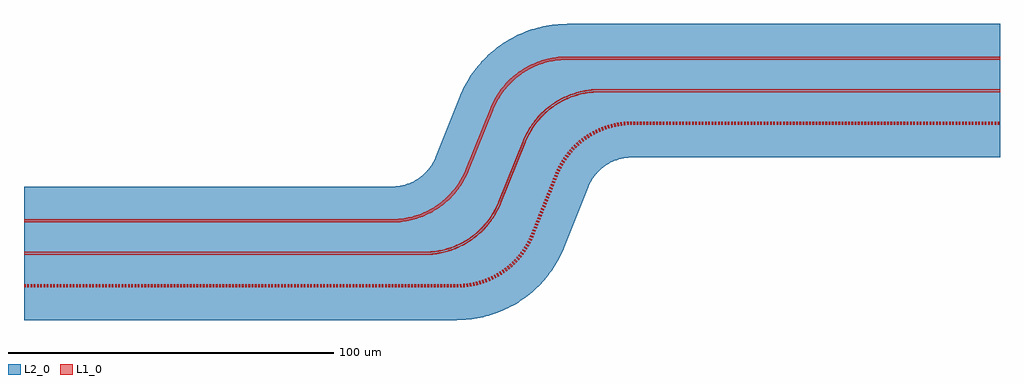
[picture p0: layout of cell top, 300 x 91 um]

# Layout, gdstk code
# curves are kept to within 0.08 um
from math import pi, radians
import gdstk
lib = gdstk.Library(unit=1e-6, precision=1e-09)
def R(c, l, rs):  # rectangles x0, y0, x1, y1
    for r in rs: c.add(gdstk.rectangle(r[:2], r[2:], *l))
def P(c, l, *ps):  # polygons
    for p in ps: c.add(gdstk.Polygon(p, *l))
L1_0 = (1, 0)
L2_0 = (2, 0)

waveguide_1 = lib.new_cell('Waveguide_1')
R(waveguide_1, L1_0, [(0,-0.5,113.074,0.5), (166.926,49.5,300,50.5)])
P(waveguide_1, L1_0, [(113.074,-0.5),(116.295,-0.296),(120.086,0.483),(123.717,1.827),(127.102,3.705),(130.163,6.074),(132.831,8.878),(135.044,12.055),(136.75,15.53),(135.822,15.901),(134.458,13.042),(132.352,9.879),(129.781,7.08),(126.81,4.712),(123.507,2.832),(119.954,1.486),(116.863,0.795),(113.074,0.5)],
  [(135.822,15.901),(136.75,15.53),(144.178,34.099),(143.25,34.47)],
  [(143.25,34.47),(144.669,37.446),(146.862,40.738),(149.537,43.651),(152.63,46.116),(155.474,47.784),(159.134,49.281),(162.983,50.193),(166.926,50.5),(166.926,49.5),(163.137,49.205),(160.046,48.514),(156.493,47.168),(153.19,45.288),(150.219,42.92),(147.648,40.121),(145.542,36.958),(144.178,34.099)])
R(waveguide_1, L2_0, [(0,-10.5,113.074,10.5), (166.926,39.5,300,60.5)])
P(waveguide_1, L2_0, [(113.074,-10.5),(115.769,-10.398),(118.448,-10.091),(121.096,-9.582),(123.697,-8.873),(126.238,-7.969),(128.702,-6.875),(132.603,-4.646),(134.797,-3.078),(136.865,-1.348),(138.796,0.533),(140.579,2.556),(142.203,4.709),(143.66,6.978),(144.939,9.352),(146.035,11.816),(126.537,19.615),(125.542,17.598),(124.248,15.759),(122.962,14.394),(121.203,12.993),(119.249,11.88),(117.505,11.193),(115.316,10.674),(113.074,10.5)],
  [(126.537,19.615),(146.035,11.816),(153.463,30.385),(133.965,38.184)],
  [(133.965,38.184),(135.941,42.327),(137.378,44.677),(138.993,46.91),(140.777,49.01),(142.717,50.965),(144.804,52.764),(147.024,54.396),(149.363,55.851),(151.809,57.12),(154.345,58.196),(156.957,59.072),(161.436,60.073),(164.173,60.393),(166.926,60.5),(166.926,39.5),(164.684,39.326),(162.495,38.807),(160.751,38.12),(158.797,37.007),(157.038,35.606),(155.752,34.241),(154.458,32.402),(153.463,30.385)])

waveguide_2 = lib.new_cell('Waveguide_2')
R(waveguide_2, L1_0, [(0,-10.5,123.074,-10.15), (0,-9.85,123.074,-9.5), (176.926,39.5,300,39.85), (176.926,40.15,300,40.5)])
P(waveguide_2, L1_0, [(123.074,-9.85),(124.96,-9.778),(126.836,-9.564),(128.074,-9.342),(129.908,-8.892),(131.701,-8.304),(133.445,-7.582),(135.13,-6.73),(136.744,-5.752),(138.28,-4.655),(139.728,-3.444),(141.08,-2.127),(142.328,-0.711),(143.465,0.796),(144.484,2.385),(145.38,4.046),(146.147,5.771),(145.822,5.901),(145.048,4.164),(144.141,2.493),(143.108,0.897),(141.954,-0.614),(141.121,-1.57),(139.781,-2.92),(138.342,-4.161),(136.81,-5.288),(135.195,-6.292),(133.507,-7.168),(132.347,-7.678),(130.56,-8.328),(128.728,-8.839),(126.863,-9.205),(124.974,-9.426),(123.074,-9.5)],
  [(123.074,-10.5),(124.365,-10.467),(126.295,-10.296),(128.205,-9.978),(130.086,-9.517),(131.927,-8.914),(133.717,-8.173),(135.445,-7.298),(137.102,-6.295),(138.678,-5.169),(140.163,-3.926),(141.551,-2.575),(142.831,-1.122),(143.998,0.425),(145.044,2.055),(145.963,3.76),(146.75,5.53),(146.425,5.66),(145.631,3.877),(144.7,2.161),(143.639,0.523),(142.455,-1.029),(141.153,-2.483),(139.743,-3.833),(138.747,-4.67),(137.174,-5.826),(135.516,-6.857),(133.784,-7.756),(131.987,-8.518),(130.759,-8.947),(128.878,-9.471),(126.963,-9.847),(125.025,-10.074),(123.074,-10.15)],
  [(145.822,5.901),(146.147,5.771),(153.575,24.34),(153.25,24.47)],
  [(146.425,5.66),(146.75,5.53),(154.178,24.099),(153.853,24.229)],
  [(153.853,24.229),(154.638,25.991),(155.237,27.129),(156.243,28.774),(157.373,30.337),(158.621,31.807),(159.98,33.176),(161.44,34.435),(162.994,35.577),(164.077,36.271),(165.766,37.203),(167.521,38.002),(169.333,38.662),(171.191,39.179),(173.083,39.551),(174.999,39.775),(176.926,39.85),(176.926,39.5),(175.026,39.426),(173.137,39.205),(171.272,38.839),(169.44,38.328),(167.653,37.678),(166.493,37.168),(164.805,36.292),(163.19,35.288),(161.658,34.161),(160.219,32.92),(158.879,31.57),(158.046,30.614),(156.892,29.103),(155.859,27.507),(154.952,25.836),(154.178,24.099)],
  [(153.25,24.47),(153.771,25.683),(154.669,27.446),(155.702,29.134),(156.862,30.738),(158.143,32.246),(159.537,33.651),(161.035,34.943),(162.63,36.116),(164.31,37.161),(165.474,37.784),(167.275,38.603),(169.134,39.281),(171.041,39.812),(172.983,40.193),(174.948,40.423),(176.926,40.5),(176.926,40.15),(174.975,40.074),(173.037,39.847),(171.122,39.471),(169.241,38.947),(168.013,38.518),(166.216,37.756),(164.484,36.857),(162.826,35.826),(161.253,34.67),(160.257,33.833),(158.847,32.483),(157.545,31.029),(156.361,29.477),(155.3,27.839),(154.369,26.123),(153.575,24.34)])
R(waveguide_2, L2_0, [(0,-20.5,123.074,0.5), (176.926,29.5,300,50.5)])
P(waveguide_2, L2_0, [(123.074,-20.5),(125.769,-20.398),(128.448,-20.091),(131.096,-19.582),(133.697,-18.873),(136.238,-17.969),(138.702,-16.875),(142.603,-14.646),(144.797,-13.078),(146.865,-11.348),(148.796,-9.467),(150.579,-7.444),(152.203,-5.291),(153.66,-3.022),(154.939,-0.648),(156.035,1.816),(136.537,9.615),(135.542,7.598),(134.248,5.759),(132.962,4.394),(131.203,2.993),(129.249,1.88),(127.505,1.193),(125.316,0.674),(123.074,0.5)],
  [(136.537,9.615),(156.035,1.816),(163.463,20.385),(143.965,28.184)],
  [(143.965,28.184),(145.941,32.327),(147.378,34.677),(148.993,36.91),(150.777,39.01),(152.717,40.965),(154.804,42.764),(157.024,44.396),(159.363,45.851),(161.809,47.12),(164.345,48.196),(166.957,49.072),(171.436,50.073),(174.173,50.393),(176.926,50.5),(176.926,29.5),(174.684,29.326),(172.495,28.807),(170.751,28.12),(168.797,27.007),(167.038,25.606),(165.752,24.241),(164.458,22.402),(163.463,20.385)])

swg_seg_1_0_1_0_0_5_1_2 = lib.new_cell('swg_seg_1.0_1.0_0.5_1_2')
R(swg_seg_1_0_1_0_0_5_1_2, L1_0, [(0,-0.5,0.5,0.5)])

swg_bend_1_0_1_0_0_5_1_2 = lib.new_cell('swg_bend_1.0_1.0_0.5_1_2')
P(swg_bend_1_0_1_0_0_5_1_2, L1_0, [(25.5,0),(25.495,0.51),(24.495,0.49),(24.5,0)])

waveguide_3 = lib.new_cell('Waveguide_3')
R(waveguide_3, L1_0, [(133,-20.5,133.074,-19.5)])
P(waveguide_3, L1_0, [(133.074,-20.5),(133.508,-20.496),(133.491,-19.496),(133.074,-19.5)])
R(waveguide_3, L2_0, [(0,-30.5,133.074,-9.5), (186.926,19.5,300,40.5)])
P(waveguide_3, L2_0, [(133.074,-30.5),(135.769,-30.398),(138.448,-30.091),(141.096,-29.582),(143.697,-28.873),(146.238,-27.969),(148.702,-26.875),(152.603,-24.646),(154.797,-23.078),(156.865,-21.348),(158.796,-19.467),(160.579,-17.444),(162.203,-15.291),(163.66,-13.022),(164.939,-10.648),(166.035,-8.184),(146.537,-0.385),(145.542,-2.402),(144.248,-4.241),(142.962,-5.606),(141.203,-7.007),(139.249,-8.12),(137.505,-8.807),(135.316,-9.326),(133.074,-9.5)],
  [(146.537,-0.385),(166.035,-8.184),(173.463,10.385),(153.965,18.184)],
  [(153.965,18.184),(155.941,22.327),(157.378,24.677),(158.993,26.91),(160.777,29.01),(162.717,30.965),(164.804,32.764),(167.024,34.396),(169.363,35.851),(171.809,37.12),(174.345,38.196),(176.957,39.072),(181.436,40.073),(184.173,40.393),(186.926,40.5),(186.926,19.5),(184.684,19.326),(182.495,18.807),(180.751,18.12),(178.797,17.007),(177.038,15.606),(175.752,14.241),(174.458,12.402),(173.463,10.385)])
waveguide_3.add(gdstk.Reference(swg_seg_1_0_1_0_0_5_1_2, (0,-20)))
waveguide_3.add(gdstk.Reference(swg_seg_1_0_1_0_0_5_1_2, (1,-20)))
waveguide_3.add(gdstk.Reference(swg_seg_1_0_1_0_0_5_1_2, (2,-20)))
waveguide_3.add(gdstk.Reference(swg_seg_1_0_1_0_0_5_1_2, (3,-20)))
waveguide_3.add(gdstk.Reference(swg_seg_1_0_1_0_0_5_1_2, (4,-20)))
waveguide_3.add(gdstk.Reference(swg_seg_1_0_1_0_0_5_1_2, (5,-20)))
waveguide_3.add(gdstk.Reference(swg_seg_1_0_1_0_0_5_1_2, (6,-20)))
waveguide_3.add(gdstk.Reference(swg_seg_1_0_1_0_0_5_1_2, (7,-20)))
waveguide_3.add(gdstk.Reference(swg_seg_1_0_1_0_0_5_1_2, (8,-20)))
waveguide_3.add(gdstk.Reference(swg_seg_1_0_1_0_0_5_1_2, (9,-20)))
waveguide_3.add(gdstk.Reference(swg_seg_1_0_1_0_0_5_1_2, (10,-20)))
waveguide_3.add(gdstk.Reference(swg_seg_1_0_1_0_0_5_1_2, (11,-20)))
waveguide_3.add(gdstk.Reference(swg_seg_1_0_1_0_0_5_1_2, (12,-20)))
waveguide_3.add(gdstk.Reference(swg_seg_1_0_1_0_0_5_1_2, (13,-20)))
waveguide_3.add(gdstk.Reference(swg_seg_1_0_1_0_0_5_1_2, (14,-20)))
waveguide_3.add(gdstk.Reference(swg_seg_1_0_1_0_0_5_1_2, (15,-20)))
waveguide_3.add(gdstk.Reference(swg_seg_1_0_1_0_0_5_1_2, (16,-20)))
waveguide_3.add(gdstk.Reference(swg_seg_1_0_1_0_0_5_1_2, (17,-20)))
waveguide_3.add(gdstk.Reference(swg_seg_1_0_1_0_0_5_1_2, (18,-20)))
waveguide_3.add(gdstk.Reference(swg_seg_1_0_1_0_0_5_1_2, (19,-20)))
waveguide_3.add(gdstk.Reference(swg_seg_1_0_1_0_0_5_1_2, (20,-20)))
waveguide_3.add(gdstk.Reference(swg_seg_1_0_1_0_0_5_1_2, (21,-20)))
waveguide_3.add(gdstk.Reference(swg_seg_1_0_1_0_0_5_1_2, (22,-20)))
waveguide_3.add(gdstk.Reference(swg_seg_1_0_1_0_0_5_1_2, (23,-20)))
waveguide_3.add(gdstk.Reference(swg_seg_1_0_1_0_0_5_1_2, (24,-20)))
waveguide_3.add(gdstk.Reference(swg_seg_1_0_1_0_0_5_1_2, (25,-20)))
waveguide_3.add(gdstk.Reference(swg_seg_1_0_1_0_0_5_1_2, (26,-20)))
waveguide_3.add(gdstk.Reference(swg_seg_1_0_1_0_0_5_1_2, (27,-20)))
waveguide_3.add(gdstk.Reference(swg_seg_1_0_1_0_0_5_1_2, (28,-20)))
waveguide_3.add(gdstk.Reference(swg_seg_1_0_1_0_0_5_1_2, (29,-20)))
waveguide_3.add(gdstk.Reference(swg_seg_1_0_1_0_0_5_1_2, (30,-20)))
waveguide_3.add(gdstk.Reference(swg_seg_1_0_1_0_0_5_1_2, (31,-20)))
waveguide_3.add(gdstk.Reference(swg_seg_1_0_1_0_0_5_1_2, (32,-20)))
waveguide_3.add(gdstk.Reference(swg_seg_1_0_1_0_0_5_1_2, (33,-20)))
waveguide_3.add(gdstk.Reference(swg_seg_1_0_1_0_0_5_1_2, (34,-20)))
waveguide_3.add(gdstk.Reference(swg_seg_1_0_1_0_0_5_1_2, (35,-20)))
waveguide_3.add(gdstk.Reference(swg_seg_1_0_1_0_0_5_1_2, (36,-20)))
waveguide_3.add(gdstk.Reference(swg_seg_1_0_1_0_0_5_1_2, (37,-20)))
waveguide_3.add(gdstk.Reference(swg_seg_1_0_1_0_0_5_1_2, (38,-20)))
waveguide_3.add(gdstk.Reference(swg_seg_1_0_1_0_0_5_1_2, (39,-20)))
waveguide_3.add(gdstk.Reference(swg_seg_1_0_1_0_0_5_1_2, (40,-20)))
waveguide_3.add(gdstk.Reference(swg_seg_1_0_1_0_0_5_1_2, (41,-20)))
waveguide_3.add(gdstk.Reference(swg_seg_1_0_1_0_0_5_1_2, (42,-20)))
waveguide_3.add(gdstk.Reference(swg_seg_1_0_1_0_0_5_1_2, (43,-20)))
waveguide_3.add(gdstk.Reference(swg_seg_1_0_1_0_0_5_1_2, (44,-20)))
waveguide_3.add(gdstk.Reference(swg_seg_1_0_1_0_0_5_1_2, (45,-20)))
waveguide_3.add(gdstk.Reference(swg_seg_1_0_1_0_0_5_1_2, (46,-20)))
waveguide_3.add(gdstk.Reference(swg_seg_1_0_1_0_0_5_1_2, (47,-20)))
waveguide_3.add(gdstk.Reference(swg_seg_1_0_1_0_0_5_1_2, (48,-20)))
waveguide_3.add(gdstk.Reference(swg_seg_1_0_1_0_0_5_1_2, (49,-20)))
waveguide_3.add(gdstk.Reference(swg_seg_1_0_1_0_0_5_1_2, (50,-20)))
waveguide_3.add(gdstk.Reference(swg_seg_1_0_1_0_0_5_1_2, (51,-20)))
waveguide_3.add(gdstk.Reference(swg_seg_1_0_1_0_0_5_1_2, (52,-20)))
waveguide_3.add(gdstk.Reference(swg_seg_1_0_1_0_0_5_1_2, (53,-20)))
waveguide_3.add(gdstk.Reference(swg_seg_1_0_1_0_0_5_1_2, (54,-20)))
waveguide_3.add(gdstk.Reference(swg_seg_1_0_1_0_0_5_1_2, (55,-20)))
waveguide_3.add(gdstk.Reference(swg_seg_1_0_1_0_0_5_1_2, (56,-20)))
waveguide_3.add(gdstk.Reference(swg_seg_1_0_1_0_0_5_1_2, (57,-20)))
waveguide_3.add(gdstk.Reference(swg_seg_1_0_1_0_0_5_1_2, (58,-20)))
waveguide_3.add(gdstk.Reference(swg_seg_1_0_1_0_0_5_1_2, (59,-20)))
waveguide_3.add(gdstk.Reference(swg_seg_1_0_1_0_0_5_1_2, (60,-20)))
waveguide_3.add(gdstk.Reference(swg_seg_1_0_1_0_0_5_1_2, (61,-20)))
waveguide_3.add(gdstk.Reference(swg_seg_1_0_1_0_0_5_1_2, (62,-20)))
waveguide_3.add(gdstk.Reference(swg_seg_1_0_1_0_0_5_1_2, (63,-20)))
waveguide_3.add(gdstk.Reference(swg_seg_1_0_1_0_0_5_1_2, (64,-20)))
waveguide_3.add(gdstk.Reference(swg_seg_1_0_1_0_0_5_1_2, (65,-20)))
waveguide_3.add(gdstk.Reference(swg_seg_1_0_1_0_0_5_1_2, (66,-20)))
waveguide_3.add(gdstk.Reference(swg_seg_1_0_1_0_0_5_1_2, (67,-20)))
waveguide_3.add(gdstk.Reference(swg_seg_1_0_1_0_0_5_1_2, (68,-20)))
waveguide_3.add(gdstk.Reference(swg_seg_1_0_1_0_0_5_1_2, (69,-20)))
waveguide_3.add(gdstk.Reference(swg_seg_1_0_1_0_0_5_1_2, (70,-20)))
waveguide_3.add(gdstk.Reference(swg_seg_1_0_1_0_0_5_1_2, (71,-20)))
waveguide_3.add(gdstk.Reference(swg_seg_1_0_1_0_0_5_1_2, (72,-20)))
waveguide_3.add(gdstk.Reference(swg_seg_1_0_1_0_0_5_1_2, (73,-20)))
waveguide_3.add(gdstk.Reference(swg_seg_1_0_1_0_0_5_1_2, (74,-20)))
waveguide_3.add(gdstk.Reference(swg_seg_1_0_1_0_0_5_1_2, (75,-20)))
waveguide_3.add(gdstk.Reference(swg_seg_1_0_1_0_0_5_1_2, (76,-20)))
waveguide_3.add(gdstk.Reference(swg_seg_1_0_1_0_0_5_1_2, (77,-20)))
waveguide_3.add(gdstk.Reference(swg_seg_1_0_1_0_0_5_1_2, (78,-20)))
waveguide_3.add(gdstk.Reference(swg_seg_1_0_1_0_0_5_1_2, (79,-20)))
waveguide_3.add(gdstk.Reference(swg_seg_1_0_1_0_0_5_1_2, (80,-20)))
waveguide_3.add(gdstk.Reference(swg_seg_1_0_1_0_0_5_1_2, (81,-20)))
waveguide_3.add(gdstk.Reference(swg_seg_1_0_1_0_0_5_1_2, (82,-20)))
waveguide_3.add(gdstk.Reference(swg_seg_1_0_1_0_0_5_1_2, (83,-20)))
waveguide_3.add(gdstk.Reference(swg_seg_1_0_1_0_0_5_1_2, (84,-20)))
waveguide_3.add(gdstk.Reference(swg_seg_1_0_1_0_0_5_1_2, (85,-20)))
waveguide_3.add(gdstk.Reference(swg_seg_1_0_1_0_0_5_1_2, (86,-20)))
waveguide_3.add(gdstk.Reference(swg_seg_1_0_1_0_0_5_1_2, (87,-20)))
waveguide_3.add(gdstk.Reference(swg_seg_1_0_1_0_0_5_1_2, (88,-20)))
waveguide_3.add(gdstk.Reference(swg_seg_1_0_1_0_0_5_1_2, (89,-20)))
waveguide_3.add(gdstk.Reference(swg_seg_1_0_1_0_0_5_1_2, (90,-20)))
waveguide_3.add(gdstk.Reference(swg_seg_1_0_1_0_0_5_1_2, (91,-20)))
waveguide_3.add(gdstk.Reference(swg_seg_1_0_1_0_0_5_1_2, (92,-20)))
waveguide_3.add(gdstk.Reference(swg_seg_1_0_1_0_0_5_1_2, (93,-20)))
waveguide_3.add(gdstk.Reference(swg_seg_1_0_1_0_0_5_1_2, (94,-20)))
waveguide_3.add(gdstk.Reference(swg_seg_1_0_1_0_0_5_1_2, (95,-20)))
waveguide_3.add(gdstk.Reference(swg_seg_1_0_1_0_0_5_1_2, (96,-20)))
waveguide_3.add(gdstk.Reference(swg_seg_1_0_1_0_0_5_1_2, (97,-20)))
waveguide_3.add(gdstk.Reference(swg_seg_1_0_1_0_0_5_1_2, (98,-20)))
waveguide_3.add(gdstk.Reference(swg_seg_1_0_1_0_0_5_1_2, (99,-20)))
waveguide_3.add(gdstk.Reference(swg_seg_1_0_1_0_0_5_1_2, (100,-20)))
waveguide_3.add(gdstk.Reference(swg_seg_1_0_1_0_0_5_1_2, (101,-20)))
waveguide_3.add(gdstk.Reference(swg_seg_1_0_1_0_0_5_1_2, (102,-20)))
waveguide_3.add(gdstk.Reference(swg_seg_1_0_1_0_0_5_1_2, (103,-20)))
waveguide_3.add(gdstk.Reference(swg_seg_1_0_1_0_0_5_1_2, (104,-20)))
waveguide_3.add(gdstk.Reference(swg_seg_1_0_1_0_0_5_1_2, (105,-20)))
waveguide_3.add(gdstk.Reference(swg_seg_1_0_1_0_0_5_1_2, (106,-20)))
waveguide_3.add(gdstk.Reference(swg_seg_1_0_1_0_0_5_1_2, (107,-20)))
waveguide_3.add(gdstk.Reference(swg_seg_1_0_1_0_0_5_1_2, (108,-20)))
waveguide_3.add(gdstk.Reference(swg_seg_1_0_1_0_0_5_1_2, (109,-20)))
waveguide_3.add(gdstk.Reference(swg_seg_1_0_1_0_0_5_1_2, (110,-20)))
waveguide_3.add(gdstk.Reference(swg_seg_1_0_1_0_0_5_1_2, (111,-20)))
waveguide_3.add(gdstk.Reference(swg_seg_1_0_1_0_0_5_1_2, (112,-20)))
waveguide_3.add(gdstk.Reference(swg_seg_1_0_1_0_0_5_1_2, (113,-20)))
waveguide_3.add(gdstk.Reference(swg_seg_1_0_1_0_0_5_1_2, (114,-20)))
waveguide_3.add(gdstk.Reference(swg_seg_1_0_1_0_0_5_1_2, (115,-20)))
waveguide_3.add(gdstk.Reference(swg_seg_1_0_1_0_0_5_1_2, (116,-20)))
waveguide_3.add(gdstk.Reference(swg_seg_1_0_1_0_0_5_1_2, (117,-20)))
waveguide_3.add(gdstk.Reference(swg_seg_1_0_1_0_0_5_1_2, (118,-20)))
waveguide_3.add(gdstk.Reference(swg_seg_1_0_1_0_0_5_1_2, (119,-20)))
waveguide_3.add(gdstk.Reference(swg_seg_1_0_1_0_0_5_1_2, (120,-20)))
waveguide_3.add(gdstk.Reference(swg_seg_1_0_1_0_0_5_1_2, (121,-20)))
waveguide_3.add(gdstk.Reference(swg_seg_1_0_1_0_0_5_1_2, (122,-20)))
waveguide_3.add(gdstk.Reference(swg_seg_1_0_1_0_0_5_1_2, (123,-20)))
waveguide_3.add(gdstk.Reference(swg_seg_1_0_1_0_0_5_1_2, (124,-20)))
waveguide_3.add(gdstk.Reference(swg_seg_1_0_1_0_0_5_1_2, (125,-20)))
waveguide_3.add(gdstk.Reference(swg_seg_1_0_1_0_0_5_1_2, (126,-20)))
waveguide_3.add(gdstk.Reference(swg_seg_1_0_1_0_0_5_1_2, (127,-20)))
waveguide_3.add(gdstk.Reference(swg_seg_1_0_1_0_0_5_1_2, (128,-20)))
waveguide_3.add(gdstk.Reference(swg_seg_1_0_1_0_0_5_1_2, (129,-20)))
waveguide_3.add(gdstk.Reference(swg_seg_1_0_1_0_0_5_1_2, (130,-20)))
waveguide_3.add(gdstk.Reference(swg_seg_1_0_1_0_0_5_1_2, (131,-20)))
waveguide_3.add(gdstk.Reference(swg_seg_1_0_1_0_0_5_1_2, (132,-20)))
waveguide_3.add(gdstk.Reference(swg_bend_1_0_1_0_0_5_1_2, (133.074,5), rotation=radians(-87.8782)))
waveguide_3.add(gdstk.Reference(swg_bend_1_0_1_0_0_5_1_2, (133.074,5), rotation=radians(-85.5863)))
waveguide_3.add(gdstk.Reference(swg_bend_1_0_1_0_0_5_1_2, (133.074,5), rotation=radians(-83.2945)))
waveguide_3.add(gdstk.Reference(swg_bend_1_0_1_0_0_5_1_2, (133.074,5), rotation=radians(-81.0027)))
waveguide_3.add(gdstk.Reference(swg_bend_1_0_1_0_0_5_1_2, (133.074,5), rotation=radians(-78.7108)))
waveguide_3.add(gdstk.Reference(swg_bend_1_0_1_0_0_5_1_2, (133.074,5), rotation=radians(-76.419)))
waveguide_3.add(gdstk.Reference(swg_bend_1_0_1_0_0_5_1_2, (133.074,5), rotation=radians(-74.1272)))
waveguide_3.add(gdstk.Reference(swg_bend_1_0_1_0_0_5_1_2, (133.074,5), rotation=radians(-71.8353)))
waveguide_3.add(gdstk.Reference(swg_bend_1_0_1_0_0_5_1_2, (133.074,5), rotation=radians(-69.5435)))
waveguide_3.add(gdstk.Reference(swg_bend_1_0_1_0_0_5_1_2, (133.074,5), rotation=radians(-67.2517)))
waveguide_3.add(gdstk.Reference(swg_bend_1_0_1_0_0_5_1_2, (133.074,5), rotation=radians(-64.9599)))
waveguide_3.add(gdstk.Reference(swg_bend_1_0_1_0_0_5_1_2, (133.074,5), rotation=radians(-62.668)))
waveguide_3.add(gdstk.Reference(swg_bend_1_0_1_0_0_5_1_2, (133.074,5), rotation=radians(-60.3762)))
waveguide_3.add(gdstk.Reference(swg_bend_1_0_1_0_0_5_1_2, (133.074,5), rotation=radians(-58.0844)))
waveguide_3.add(gdstk.Reference(swg_bend_1_0_1_0_0_5_1_2, (133.074,5), rotation=radians(-55.7925)))
waveguide_3.add(gdstk.Reference(swg_bend_1_0_1_0_0_5_1_2, (133.074,5), rotation=radians(-53.5007)))
waveguide_3.add(gdstk.Reference(swg_bend_1_0_1_0_0_5_1_2, (133.074,5), rotation=radians(-51.2089)))
waveguide_3.add(gdstk.Reference(swg_bend_1_0_1_0_0_5_1_2, (133.074,5), rotation=radians(-48.917)))
waveguide_3.add(gdstk.Reference(swg_bend_1_0_1_0_0_5_1_2, (133.074,5), rotation=radians(-46.6252)))
waveguide_3.add(gdstk.Reference(swg_bend_1_0_1_0_0_5_1_2, (133.074,5), rotation=radians(-44.3334)))
waveguide_3.add(gdstk.Reference(swg_bend_1_0_1_0_0_5_1_2, (133.074,5), rotation=radians(-42.0415)))
waveguide_3.add(gdstk.Reference(swg_bend_1_0_1_0_0_5_1_2, (133.074,5), rotation=radians(-39.7497)))
waveguide_3.add(gdstk.Reference(swg_bend_1_0_1_0_0_5_1_2, (133.074,5), rotation=radians(-37.4579)))
waveguide_3.add(gdstk.Reference(swg_bend_1_0_1_0_0_5_1_2, (133.074,5), rotation=radians(-35.1661)))
waveguide_3.add(gdstk.Reference(swg_bend_1_0_1_0_0_5_1_2, (133.074,5), rotation=radians(-32.8742)))
waveguide_3.add(gdstk.Reference(swg_bend_1_0_1_0_0_5_1_2, (133.074,5), rotation=radians(-30.5824)))
waveguide_3.add(gdstk.Reference(swg_bend_1_0_1_0_0_5_1_2, (133.074,5), rotation=radians(-28.2906)))
waveguide_3.add(gdstk.Reference(swg_bend_1_0_1_0_0_5_1_2, (133.074,5), rotation=radians(-25.9987)))
waveguide_3.add(gdstk.Reference(swg_bend_1_0_1_0_0_5_1_2, (133.074,5), rotation=radians(-23.7069)))
waveguide_3.add(gdstk.Reference(swg_seg_1_0_1_0_0_5_1_2, (156.349,-4.128), rotation=radians(68.1986)))
waveguide_3.add(gdstk.Reference(swg_seg_1_0_1_0_0_5_1_2, (156.72,-3.2), rotation=radians(68.1986)))
waveguide_3.add(gdstk.Reference(swg_seg_1_0_1_0_0_5_1_2, (157.091,-2.271), rotation=radians(68.1986)))
waveguide_3.add(gdstk.Reference(swg_seg_1_0_1_0_0_5_1_2, (157.463,-1.343), rotation=radians(68.1986)))
waveguide_3.add(gdstk.Reference(swg_seg_1_0_1_0_0_5_1_2, (157.834,-0.414), rotation=radians(68.1986)))
waveguide_3.add(gdstk.Reference(swg_seg_1_0_1_0_0_5_1_2, (158.206,0.514), rotation=radians(68.1986)))
waveguide_3.add(gdstk.Reference(swg_seg_1_0_1_0_0_5_1_2, (158.577,1.443), rotation=radians(68.1986)))
waveguide_3.add(gdstk.Reference(swg_seg_1_0_1_0_0_5_1_2, (158.948,2.371), rotation=radians(68.1986)))
waveguide_3.add(gdstk.Reference(swg_seg_1_0_1_0_0_5_1_2, (159.32,3.3), rotation=radians(68.1986)))
waveguide_3.add(gdstk.Reference(swg_seg_1_0_1_0_0_5_1_2, (159.691,4.228), rotation=radians(68.1986)))
waveguide_3.add(gdstk.Reference(swg_seg_1_0_1_0_0_5_1_2, (160.063,5.157), rotation=radians(68.1986)))
waveguide_3.add(gdstk.Reference(swg_seg_1_0_1_0_0_5_1_2, (160.434,6.085), rotation=radians(68.1986)))
waveguide_3.add(gdstk.Reference(swg_seg_1_0_1_0_0_5_1_2, (160.805,7.013), rotation=radians(68.1986)))
waveguide_3.add(gdstk.Reference(swg_seg_1_0_1_0_0_5_1_2, (161.177,7.942), rotation=radians(68.1986)))
waveguide_3.add(gdstk.Reference(swg_seg_1_0_1_0_0_5_1_2, (161.548,8.87), rotation=radians(68.1986)))
waveguide_3.add(gdstk.Reference(swg_seg_1_0_1_0_0_5_1_2, (161.92,9.799), rotation=radians(68.1986)))
waveguide_3.add(gdstk.Reference(swg_seg_1_0_1_0_0_5_1_2, (162.291,10.727), rotation=radians(68.1986)))
waveguide_3.add(gdstk.Reference(swg_seg_1_0_1_0_0_5_1_2, (162.662,11.656), rotation=radians(68.1986)))
waveguide_3.add(gdstk.Reference(swg_seg_1_0_1_0_0_5_1_2, (163.034,12.584), rotation=radians(68.1986)))
waveguide_3.add(gdstk.Reference(swg_seg_1_0_1_0_0_5_1_2, (163.405,13.513), rotation=radians(68.1986)))
waveguide_3.add(gdstk.Reference(swg_bend_1_0_1_0_0_5_1_2, (186.926,5), rotation=radians(157.8122), x_reflection=True))
waveguide_3.add(gdstk.Reference(swg_bend_1_0_1_0_0_5_1_2, (186.926,5), rotation=radians(155.5204), x_reflection=True))
waveguide_3.add(gdstk.Reference(swg_bend_1_0_1_0_0_5_1_2, (186.926,5), rotation=radians(153.2286), x_reflection=True))
waveguide_3.add(gdstk.Reference(swg_bend_1_0_1_0_0_5_1_2, (186.926,5), rotation=radians(150.9368), x_reflection=True))
waveguide_3.add(gdstk.Reference(swg_bend_1_0_1_0_0_5_1_2, (186.926,5), rotation=radians(148.6449), x_reflection=True))
waveguide_3.add(gdstk.Reference(swg_bend_1_0_1_0_0_5_1_2, (186.926,5), rotation=radians(146.3531), x_reflection=True))
waveguide_3.add(gdstk.Reference(swg_bend_1_0_1_0_0_5_1_2, (186.926,5), rotation=radians(144.0613), x_reflection=True))
waveguide_3.add(gdstk.Reference(swg_bend_1_0_1_0_0_5_1_2, (186.926,5), rotation=radians(141.7694), x_reflection=True))
waveguide_3.add(gdstk.Reference(swg_bend_1_0_1_0_0_5_1_2, (186.926,5), rotation=radians(139.4776), x_reflection=True))
waveguide_3.add(gdstk.Reference(swg_bend_1_0_1_0_0_5_1_2, (186.926,5), rotation=radians(137.1858), x_reflection=True))
waveguide_3.add(gdstk.Reference(swg_bend_1_0_1_0_0_5_1_2, (186.926,5), rotation=radians(134.8939), x_reflection=True))
waveguide_3.add(gdstk.Reference(swg_bend_1_0_1_0_0_5_1_2, (186.926,5), rotation=radians(132.6021), x_reflection=True))
waveguide_3.add(gdstk.Reference(swg_bend_1_0_1_0_0_5_1_2, (186.926,5), rotation=radians(130.3103), x_reflection=True))
waveguide_3.add(gdstk.Reference(swg_bend_1_0_1_0_0_5_1_2, (186.926,5), rotation=radians(128.0184), x_reflection=True))
waveguide_3.add(gdstk.Reference(swg_bend_1_0_1_0_0_5_1_2, (186.926,5), rotation=radians(125.7266), x_reflection=True))
waveguide_3.add(gdstk.Reference(swg_bend_1_0_1_0_0_5_1_2, (186.926,5), rotation=radians(123.4348), x_reflection=True))
waveguide_3.add(gdstk.Reference(swg_bend_1_0_1_0_0_5_1_2, (186.926,5), rotation=radians(121.1429), x_reflection=True))
waveguide_3.add(gdstk.Reference(swg_bend_1_0_1_0_0_5_1_2, (186.926,5), rotation=radians(118.8511), x_reflection=True))
waveguide_3.add(gdstk.Reference(swg_bend_1_0_1_0_0_5_1_2, (186.926,5), rotation=radians(116.5593), x_reflection=True))
waveguide_3.add(gdstk.Reference(swg_bend_1_0_1_0_0_5_1_2, (186.926,5), rotation=radians(114.2675), x_reflection=True))
waveguide_3.add(gdstk.Reference(swg_bend_1_0_1_0_0_5_1_2, (186.926,5), rotation=radians(111.9756), x_reflection=True))
waveguide_3.add(gdstk.Reference(swg_bend_1_0_1_0_0_5_1_2, (186.926,5), rotation=radians(109.6838), x_reflection=True))
waveguide_3.add(gdstk.Reference(swg_bend_1_0_1_0_0_5_1_2, (186.926,5), rotation=radians(107.392), x_reflection=True))
waveguide_3.add(gdstk.Reference(swg_bend_1_0_1_0_0_5_1_2, (186.926,5), rotation=radians(105.1001), x_reflection=True))
waveguide_3.add(gdstk.Reference(swg_bend_1_0_1_0_0_5_1_2, (186.926,5), rotation=radians(102.8083), x_reflection=True))
waveguide_3.add(gdstk.Reference(swg_bend_1_0_1_0_0_5_1_2, (186.926,5), rotation=radians(100.5165), x_reflection=True))
waveguide_3.add(gdstk.Reference(swg_bend_1_0_1_0_0_5_1_2, (186.926,5), rotation=radians(98.2246), x_reflection=True))
waveguide_3.add(gdstk.Reference(swg_bend_1_0_1_0_0_5_1_2, (186.926,5), rotation=radians(95.9328), x_reflection=True))
waveguide_3.add(gdstk.Reference(swg_bend_1_0_1_0_0_5_1_2, (186.926,5), rotation=radians(93.641), x_reflection=True))
waveguide_3.add(gdstk.Reference(swg_bend_1_0_1_0_0_5_1_2, (186.926,5), rotation=radians(91.3491), x_reflection=True))
waveguide_3.add(gdstk.Reference(swg_seg_1_0_1_0_0_5_1_2, (187.337,30)))
waveguide_3.add(gdstk.Reference(swg_seg_1_0_1_0_0_5_1_2, (188.337,30)))
waveguide_3.add(gdstk.Reference(swg_seg_1_0_1_0_0_5_1_2, (189.337,30)))
waveguide_3.add(gdstk.Reference(swg_seg_1_0_1_0_0_5_1_2, (190.337,30)))
waveguide_3.add(gdstk.Reference(swg_seg_1_0_1_0_0_5_1_2, (191.337,30)))
waveguide_3.add(gdstk.Reference(swg_seg_1_0_1_0_0_5_1_2, (192.337,30)))
waveguide_3.add(gdstk.Reference(swg_seg_1_0_1_0_0_5_1_2, (193.337,30)))
waveguide_3.add(gdstk.Reference(swg_seg_1_0_1_0_0_5_1_2, (194.337,30)))
waveguide_3.add(gdstk.Reference(swg_seg_1_0_1_0_0_5_1_2, (195.337,30)))
waveguide_3.add(gdstk.Reference(swg_seg_1_0_1_0_0_5_1_2, (196.337,30)))
waveguide_3.add(gdstk.Reference(swg_seg_1_0_1_0_0_5_1_2, (197.337,30)))
waveguide_3.add(gdstk.Reference(swg_seg_1_0_1_0_0_5_1_2, (198.337,30)))
waveguide_3.add(gdstk.Reference(swg_seg_1_0_1_0_0_5_1_2, (199.337,30)))
waveguide_3.add(gdstk.Reference(swg_seg_1_0_1_0_0_5_1_2, (200.337,30)))
waveguide_3.add(gdstk.Reference(swg_seg_1_0_1_0_0_5_1_2, (201.337,30)))
waveguide_3.add(gdstk.Reference(swg_seg_1_0_1_0_0_5_1_2, (202.337,30)))
waveguide_3.add(gdstk.Reference(swg_seg_1_0_1_0_0_5_1_2, (203.337,30)))
waveguide_3.add(gdstk.Reference(swg_seg_1_0_1_0_0_5_1_2, (204.337,30)))
waveguide_3.add(gdstk.Reference(swg_seg_1_0_1_0_0_5_1_2, (205.337,30)))
waveguide_3.add(gdstk.Reference(swg_seg_1_0_1_0_0_5_1_2, (206.337,30)))
waveguide_3.add(gdstk.Reference(swg_seg_1_0_1_0_0_5_1_2, (207.337,30)))
waveguide_3.add(gdstk.Reference(swg_seg_1_0_1_0_0_5_1_2, (208.337,30)))
waveguide_3.add(gdstk.Reference(swg_seg_1_0_1_0_0_5_1_2, (209.337,30)))
waveguide_3.add(gdstk.Reference(swg_seg_1_0_1_0_0_5_1_2, (210.337,30)))
waveguide_3.add(gdstk.Reference(swg_seg_1_0_1_0_0_5_1_2, (211.337,30)))
waveguide_3.add(gdstk.Reference(swg_seg_1_0_1_0_0_5_1_2, (212.337,30)))
waveguide_3.add(gdstk.Reference(swg_seg_1_0_1_0_0_5_1_2, (213.337,30)))
waveguide_3.add(gdstk.Reference(swg_seg_1_0_1_0_0_5_1_2, (214.337,30)))
waveguide_3.add(gdstk.Reference(swg_seg_1_0_1_0_0_5_1_2, (215.337,30)))
waveguide_3.add(gdstk.Reference(swg_seg_1_0_1_0_0_5_1_2, (216.337,30)))
waveguide_3.add(gdstk.Reference(swg_seg_1_0_1_0_0_5_1_2, (217.337,30)))
waveguide_3.add(gdstk.Reference(swg_seg_1_0_1_0_0_5_1_2, (218.337,30)))
waveguide_3.add(gdstk.Reference(swg_seg_1_0_1_0_0_5_1_2, (219.337,30)))
waveguide_3.add(gdstk.Reference(swg_seg_1_0_1_0_0_5_1_2, (220.337,30)))
waveguide_3.add(gdstk.Reference(swg_seg_1_0_1_0_0_5_1_2, (221.337,30)))
waveguide_3.add(gdstk.Reference(swg_seg_1_0_1_0_0_5_1_2, (222.337,30)))
waveguide_3.add(gdstk.Reference(swg_seg_1_0_1_0_0_5_1_2, (223.337,30)))
waveguide_3.add(gdstk.Reference(swg_seg_1_0_1_0_0_5_1_2, (224.337,30)))
waveguide_3.add(gdstk.Reference(swg_seg_1_0_1_0_0_5_1_2, (225.337,30)))
waveguide_3.add(gdstk.Reference(swg_seg_1_0_1_0_0_5_1_2, (226.337,30)))
waveguide_3.add(gdstk.Reference(swg_seg_1_0_1_0_0_5_1_2, (227.337,30)))
waveguide_3.add(gdstk.Reference(swg_seg_1_0_1_0_0_5_1_2, (228.337,30)))
waveguide_3.add(gdstk.Reference(swg_seg_1_0_1_0_0_5_1_2, (229.337,30)))
waveguide_3.add(gdstk.Reference(swg_seg_1_0_1_0_0_5_1_2, (230.337,30)))
waveguide_3.add(gdstk.Reference(swg_seg_1_0_1_0_0_5_1_2, (231.337,30)))
waveguide_3.add(gdstk.Reference(swg_seg_1_0_1_0_0_5_1_2, (232.337,30)))
waveguide_3.add(gdstk.Reference(swg_seg_1_0_1_0_0_5_1_2, (233.337,30)))
waveguide_3.add(gdstk.Reference(swg_seg_1_0_1_0_0_5_1_2, (234.337,30)))
waveguide_3.add(gdstk.Reference(swg_seg_1_0_1_0_0_5_1_2, (235.337,30)))
waveguide_3.add(gdstk.Reference(swg_seg_1_0_1_0_0_5_1_2, (236.337,30)))
waveguide_3.add(gdstk.Reference(swg_seg_1_0_1_0_0_5_1_2, (237.337,30)))
waveguide_3.add(gdstk.Reference(swg_seg_1_0_1_0_0_5_1_2, (238.337,30)))
waveguide_3.add(gdstk.Reference(swg_seg_1_0_1_0_0_5_1_2, (239.337,30)))
waveguide_3.add(gdstk.Reference(swg_seg_1_0_1_0_0_5_1_2, (240.337,30)))
waveguide_3.add(gdstk.Reference(swg_seg_1_0_1_0_0_5_1_2, (241.337,30)))
waveguide_3.add(gdstk.Reference(swg_seg_1_0_1_0_0_5_1_2, (242.337,30)))
waveguide_3.add(gdstk.Reference(swg_seg_1_0_1_0_0_5_1_2, (243.337,30)))
waveguide_3.add(gdstk.Reference(swg_seg_1_0_1_0_0_5_1_2, (244.337,30)))
waveguide_3.add(gdstk.Reference(swg_seg_1_0_1_0_0_5_1_2, (245.337,30)))
waveguide_3.add(gdstk.Reference(swg_seg_1_0_1_0_0_5_1_2, (246.337,30)))
waveguide_3.add(gdstk.Reference(swg_seg_1_0_1_0_0_5_1_2, (247.337,30)))
waveguide_3.add(gdstk.Reference(swg_seg_1_0_1_0_0_5_1_2, (248.337,30)))
waveguide_3.add(gdstk.Reference(swg_seg_1_0_1_0_0_5_1_2, (249.337,30)))
waveguide_3.add(gdstk.Reference(swg_seg_1_0_1_0_0_5_1_2, (250.337,30)))
waveguide_3.add(gdstk.Reference(swg_seg_1_0_1_0_0_5_1_2, (251.337,30)))
waveguide_3.add(gdstk.Reference(swg_seg_1_0_1_0_0_5_1_2, (252.337,30)))
waveguide_3.add(gdstk.Reference(swg_seg_1_0_1_0_0_5_1_2, (253.337,30)))
waveguide_3.add(gdstk.Reference(swg_seg_1_0_1_0_0_5_1_2, (254.337,30)))
waveguide_3.add(gdstk.Reference(swg_seg_1_0_1_0_0_5_1_2, (255.337,30)))
waveguide_3.add(gdstk.Reference(swg_seg_1_0_1_0_0_5_1_2, (256.337,30)))
waveguide_3.add(gdstk.Reference(swg_seg_1_0_1_0_0_5_1_2, (257.337,30)))
waveguide_3.add(gdstk.Reference(swg_seg_1_0_1_0_0_5_1_2, (258.337,30)))
waveguide_3.add(gdstk.Reference(swg_seg_1_0_1_0_0_5_1_2, (259.337,30)))
waveguide_3.add(gdstk.Reference(swg_seg_1_0_1_0_0_5_1_2, (260.337,30)))
waveguide_3.add(gdstk.Reference(swg_seg_1_0_1_0_0_5_1_2, (261.337,30)))
waveguide_3.add(gdstk.Reference(swg_seg_1_0_1_0_0_5_1_2, (262.337,30)))
waveguide_3.add(gdstk.Reference(swg_seg_1_0_1_0_0_5_1_2, (263.337,30)))
waveguide_3.add(gdstk.Reference(swg_seg_1_0_1_0_0_5_1_2, (264.337,30)))
waveguide_3.add(gdstk.Reference(swg_seg_1_0_1_0_0_5_1_2, (265.337,30)))
waveguide_3.add(gdstk.Reference(swg_seg_1_0_1_0_0_5_1_2, (266.337,30)))
waveguide_3.add(gdstk.Reference(swg_seg_1_0_1_0_0_5_1_2, (267.337,30)))
waveguide_3.add(gdstk.Reference(swg_seg_1_0_1_0_0_5_1_2, (268.337,30)))
waveguide_3.add(gdstk.Reference(swg_seg_1_0_1_0_0_5_1_2, (269.337,30)))
waveguide_3.add(gdstk.Reference(swg_seg_1_0_1_0_0_5_1_2, (270.337,30)))
waveguide_3.add(gdstk.Reference(swg_seg_1_0_1_0_0_5_1_2, (271.337,30)))
waveguide_3.add(gdstk.Reference(swg_seg_1_0_1_0_0_5_1_2, (272.337,30)))
waveguide_3.add(gdstk.Reference(swg_seg_1_0_1_0_0_5_1_2, (273.337,30)))
waveguide_3.add(gdstk.Reference(swg_seg_1_0_1_0_0_5_1_2, (274.337,30)))
waveguide_3.add(gdstk.Reference(swg_seg_1_0_1_0_0_5_1_2, (275.337,30)))
waveguide_3.add(gdstk.Reference(swg_seg_1_0_1_0_0_5_1_2, (276.337,30)))
waveguide_3.add(gdstk.Reference(swg_seg_1_0_1_0_0_5_1_2, (277.337,30)))
waveguide_3.add(gdstk.Reference(swg_seg_1_0_1_0_0_5_1_2, (278.337,30)))
waveguide_3.add(gdstk.Reference(swg_seg_1_0_1_0_0_5_1_2, (279.337,30)))
waveguide_3.add(gdstk.Reference(swg_seg_1_0_1_0_0_5_1_2, (280.337,30)))
waveguide_3.add(gdstk.Reference(swg_seg_1_0_1_0_0_5_1_2, (281.337,30)))
waveguide_3.add(gdstk.Reference(swg_seg_1_0_1_0_0_5_1_2, (282.337,30)))
waveguide_3.add(gdstk.Reference(swg_seg_1_0_1_0_0_5_1_2, (283.337,30)))
waveguide_3.add(gdstk.Reference(swg_seg_1_0_1_0_0_5_1_2, (284.337,30)))
waveguide_3.add(gdstk.Reference(swg_seg_1_0_1_0_0_5_1_2, (285.337,30)))
waveguide_3.add(gdstk.Reference(swg_seg_1_0_1_0_0_5_1_2, (286.337,30)))
waveguide_3.add(gdstk.Reference(swg_seg_1_0_1_0_0_5_1_2, (287.337,30)))
waveguide_3.add(gdstk.Reference(swg_seg_1_0_1_0_0_5_1_2, (288.337,30)))
waveguide_3.add(gdstk.Reference(swg_seg_1_0_1_0_0_5_1_2, (289.337,30)))
waveguide_3.add(gdstk.Reference(swg_seg_1_0_1_0_0_5_1_2, (290.337,30)))
waveguide_3.add(gdstk.Reference(swg_seg_1_0_1_0_0_5_1_2, (291.337,30)))
waveguide_3.add(gdstk.Reference(swg_seg_1_0_1_0_0_5_1_2, (292.337,30)))
waveguide_3.add(gdstk.Reference(swg_seg_1_0_1_0_0_5_1_2, (293.337,30)))
waveguide_3.add(gdstk.Reference(swg_seg_1_0_1_0_0_5_1_2, (294.337,30)))
waveguide_3.add(gdstk.Reference(swg_seg_1_0_1_0_0_5_1_2, (295.337,30)))
waveguide_3.add(gdstk.Reference(swg_seg_1_0_1_0_0_5_1_2, (296.337,30)))
waveguide_3.add(gdstk.Reference(swg_seg_1_0_1_0_0_5_1_2, (297.337,30)))
waveguide_3.add(gdstk.Reference(swg_seg_1_0_1_0_0_5_1_2, (298.337,30)))
waveguide_3.add(gdstk.Reference(swg_seg_1_0_1_0_0_5_1_2, (299.337,30)))

top = lib.new_cell('top')
top.add(gdstk.Reference(waveguide_1, (0,0)))
top.add(gdstk.Reference(waveguide_2, (0,0)))
top.add(gdstk.Reference(waveguide_3, (0,0)))

lib.write_gds('top.gds')
